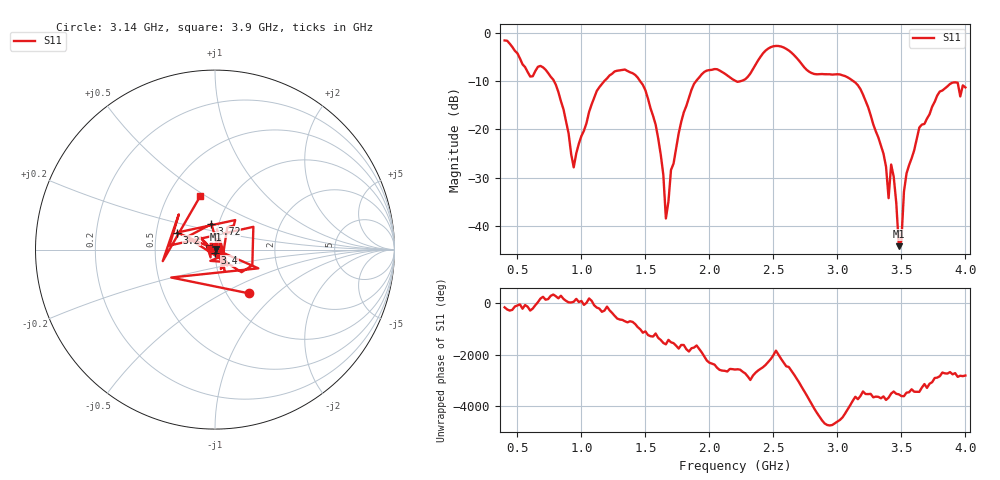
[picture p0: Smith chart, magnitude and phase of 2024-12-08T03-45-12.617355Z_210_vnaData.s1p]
!Created with skrf (http://scikit-rf.org).
# Hz S RI R 50.0
!freq ReS11 ImS11
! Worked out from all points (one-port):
!   181 points, 400 MHz to 4 GHz, reference 50 ohm
!   lowest |S11| = -44.3 dB at 3.48 GHz (marker M1), VSWR 1.01, Z = 50.4 + j0.421 ohm
!   |S11| at or under -10 dB: 787.3 MHz to 1.176 GHz (389.1 MHz wide, 39.6 % of centre); 1.46 GHz to 1.894 GHz (433.6 MHz wide, 25.9 % of centre); 3.128 GHz to end of sweep (the widest 3 of 4)
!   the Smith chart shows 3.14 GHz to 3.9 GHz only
!   S11 on the Smith chart (normalised r, x): 3.14 GHz: 1.26, -0.68; 3.2 GHz: 0.64, +0.13; 3.4 GHz: 1.00, -0.04; 3.72 GHz: 0.92, +0.27; 3.9 GHz: 0.72, +0.47
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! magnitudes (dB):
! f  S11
! 400 MHz  -1.5
! 600 MHz  -9.0
! 720 MHz  -7.6
! 860 MHz  -15.8
! 940 MHz  -27.9
! 1.12 GHz  -12.0
! 1.3 GHz  -7.7
! 1.5 GHz  -11.8
! 1.6 GHz  -21.9
! 1.64 GHz  -29.4
! 1.66 GHz  -38.5
! 1.76 GHz  -20.8
! 1.94 GHz  -8.5
! 2.2 GHz  -9.8
! 2.48 GHz  -2.9
! 2.66 GHz  -4.5
! 3.1 GHz  -9.5
! 3.14 GHz  -10.2
! 3.2 GHz  -12.7
! 3.36 GHz  -25.0
! 3.4 GHz  -34.3
! 3.42 GHz  -27.3
! 3.46 GHz  -35.3
! 3.48 GHz  -44.3
! 3.56 GHz  -27.4
! 3.72 GHz  -16.8
! 3.9 GHz  -10.2
! 4 GHz  -11.2
